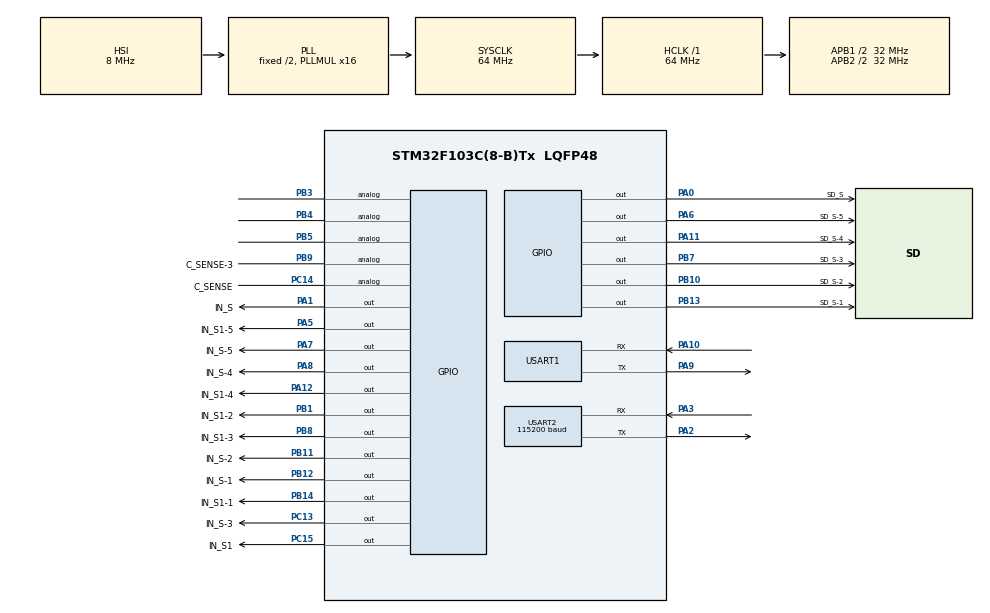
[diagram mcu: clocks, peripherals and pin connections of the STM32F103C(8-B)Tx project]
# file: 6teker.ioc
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Mcu.Family=STM32F1
Mcu.Name=STM32F103C(8-B)Tx
Mcu.Package=LQFP48
NVIC.PriorityGroup=NVIC_PRIORITYGROUP_4
NVIC.TIM1_CC_IRQn=true\:0\:0\:false\:false\:true
NVIC.TIM1_UP_IRQn=true\:0\:0\:false\:false\:true
NVIC.USART1_IRQn=true\:0\:0\:false\:false\:true
NVIC.USART2_IRQn=true\:0\:0\:false\:false\:true
PA0-WKUP.GPIO_Label=SD_S
PA0-WKUP.Signal=GPIO_Output
PA1.GPIO_Label=IN_S
PA1.Signal=GPIO_Output
PA10.Mode=Asynchronous
PA10.Signal=USART1_RX
PA11.GPIO_Label=SD_S-4
PA11.Signal=GPIO_Output
PA12.GPIO_Label=IN_S1-4
PA12.Signal=GPIO_Output
PA2.Mode=Asynchronous
PA2.Signal=USART2_TX
PA3.Mode=Asynchronous
PA3.Signal=USART2_RX
PA5.GPIO_Label=IN_S1-5
PA5.Signal=GPIO_Output
PA6.GPIO_Label=SD_S-5
PA6.Signal=GPIO_Output
PA7.GPIO_Label=IN_S-5
PA7.Signal=GPIO_Output
PA8.GPIO_Label=IN_S-4
PA8.Signal=GPIO_Output
PA9.Mode=Asynchronous
PA9.Signal=USART1_TX
PB1.GPIO_Label=IN_S1-2
PB1.Signal=GPIO_Output
PB10.GPIO_Label=SD_S-2
PB10.Signal=GPIO_Output
PB11.GPIO_Label=IN_S-2
PB11.Signal=GPIO_Output
PB12.GPIO_Label=IN_S-1
PB12.Signal=GPIO_Output
PB13.GPIO_Label=SD_S-1
PB13.Signal=GPIO_Output
PB14.GPIO_Label=IN_S1-1
PB14.Signal=GPIO_Output
PB3.Signal=GPIO_Analog
PB4.Signal=GPIO_Analog
PB5.Signal=GPIO_Analog
PB7.GPIO_Label=SD_S-3
PB7.Signal=GPIO_Output
PB8.GPIO_Label=IN_S1-3
PB8.Signal=GPIO_Output
PB9.GPIO_Label=C_SENSE-3
PB9.Signal=GPIO_Analog
PC13-TAMPER-RTC.GPIO_Label=IN_S-3
PC13-TAMPER-RTC.Signal=GPIO_Output
PC14-OSC32_IN.GPIO_Label=C_SENSE
PC14-OSC32_IN.Signal=GPIO_Analog
PC15-OSC32_OUT.GPIO_Label=IN_S1
PC15-OSC32_OUT.Signal=GPIO_Output
ProjectManager.HeapSize=0x200
ProjectManager.StackSize=0x400
ProjectManager.TargetToolchain=MDK-ARM V5
RCC.AHBFreq_Value=64000000
RCC.APB1CLKDivider=RCC_HCLK_DIV2
RCC.APB1Freq_Value=32000000
RCC.APB1TimFreq_Value=64000000
RCC.APB2CLKDivider=RCC_HCLK_DIV2
RCC.APB2Freq_Value=32000000
RCC.APB2TimFreq_Value=64000000
RCC.HCLKFreq_Value=64000000
RCC.PLLMUL=RCC_PLL_MUL16
RCC.SYSCLKFreq_VALUE=64000000
RCC.SYSCLKSource=RCC_SYSCLKSOURCE_PLLCLK
RCC.USBFreq_Value=64000000
TIM1.CounterMode=TIM_COUNTERMODE_UP
TIM1.Period=50
TIM1.Prescaler=255
USART2.BaudRate=115200
VP_SYS_VS_ND.Mode=No_Debug
VP_TIM1_VS_ClockSourceINT.Mode=Internal
board=6teker

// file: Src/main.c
/**
  ******************************************************************************
  * File Name          : main.c
  * Description        : Main program body
  ******************************************************************************
  *
  * COPYRIGHT(c) 2017 STMicroelectronics
  *
  * Redistribution and use in source and binary forms, with or without modification,
  * are permitted provided that the following conditions are met:
  *   1. Redistributions of source code must retain the above copyright notice,
  *      this list of conditions and the following disclaimer.
  *   2. Redistributions in binary form must reproduce the above copyright notice,
  *      this list of conditions and the following disclaimer in the documentation
  *      and/or other materials provided with the distribution.
  *   3. Neither the name of STMicroelectronics nor the names of its contributors
  *      may be used to endorse or promote products derived from this software
  *      without specific prior written permission.
  *
  * THIS SOFTWARE IS PROVIDED BY THE COPYRIGHT HOLDERS AND CONTRIBUTORS "AS IS"
  * AND ANY EXPRESS OR IMPLIED WARRANTIES, INCLUDING, BUT NOT LIMITED TO, THE
  * IMPLIED WARRANTIES OF MERCHANTABILITY AND FITNESS FOR A PARTICULAR PURPOSE ARE
  * DISCLAIMED. IN NO EVENT SHALL THE COPYRIGHT HOLDER OR CONTRIBUTORS BE LIABLE
  * FOR ANY DIRECT, INDIRECT, INCIDENTAL, SPECIAL, EXEMPLARY, OR CONSEQUENTIAL
  * DAMAGES (INCLUDING, BUT NOT LIMITED TO, PROCUREMENT OF SUBSTITUTE GOODS OR
  * SERVICES; LOSS OF USE, DATA, OR PROFITS; OR BUSINESS INTERRUPTION) HOWEVER
  * CAUSED AND ON ANY THEORY OF LIABILITY, WHETHER IN CONTRACT, STRICT LIABILITY,
  * OR TORT (INCLUDING NEGLIGENCE OR OTHERWISE) ARISING IN ANY WAY OUT OF THE USE
  * OF THIS SOFTWARE, EVEN IF ADVISED OF THE POSSIBILITY OF SUCH DAMAGE.
  *
  ******************************************************************************
  */
#include "stm32f1xx_hal.h"

TIM_HandleTypeDef htim1;

UART_HandleTypeDef huart1;
UART_HandleTypeDef huart2;

/* USER CODE BEGIN PV */
/* Private variables ---------------------------------------------------------*/
int i=0;
char buffer[100];
int len;
char Rx_indx;
unsigned char Rx_data[2], Rx_Buffer[100], Transfer_cplt, flag[6];

int count=0,axis_index;
unsigned char axis_enable[6]={0,0,0,0,0,0};
unsigned char axis_on[6]={0,0,0,0,0,0};
unsigned char axis_stop[6]={0,0,0,0,0,0};
unsigned char axis_direction[6]={0,0,0,0,0,0};
unsigned char axis_velocity[6]={0,0,0,0,0,0};
uint32_t axis_destination[6]={0,0,0,0,0,0};
uint32_t axis_location[6]={0,0,0,0,0,0};

/* USER CODE END PV */

void SystemClock_Config(void);
void Error_Handler(void);
static void MX_GPIO_Init(void);
static void MX_USART1_UART_Init(void);
static void MX_USART2_UART_Init(void);
static void MX_TIM1_Init(void);

/* USER CODE BEGIN PFP */
/* Private function prototypes -----------------------------------------------*/
 void HAL_UART_RxCpltCallback(UART_HandleTypeDef *huart)
{
	uint8_t i;
	if (1)	//uart kesmesi kime ait
		{
		if (Rx_indx==0) {for (i=0;i<100;i++) Rx_Buffer[i]=0;}	//Rx_Buffer temizle
		if(Rx_data[0]=='B')Rx_indx=0;
		if (Rx_data[0]!='E')	//if received data different from ascii 13 (enter)
			{
			Rx_Buffer[Rx_indx++]=Rx_data[0];	//add data to Rx_Buffer
			}
		else			//end bit arrived
			{
			Rx_indx=0;
			Transfer_cplt=1;//flag enable
				// x dir x val y dir y val
			for(int a=0;a<3;a++){
				axis_index=a; //Rx_Buffer[0]-'0';
				axis_enable[axis_index]=1;	// axis enabled
				axis_direction[axis_index]=(Rx_Buffer[1]-'0'); //axis direction is set
				axis_velocity[axis_index]=((Rx_Buffer[2]-'0')*5); //axis velocity is set
				if(Rx_Buffer[2]<Rx_Buffer[4]){
				if(Rx_Buffer[3]-'0'){axis_velocity[axis_index]=(Rx_Buffer[4]-'0')*5;axis_direction[axis_index]=0;}
				else {axis_velocity[axis_index]=(Rx_Buffer[4]-'0')*5;axis_direction[axis_index]=1;};
				}
					axis_destination[axis_index]= 1; //(Rx_Buffer[3]-'0')*10000; // axis destination is set
				axis_destination[axis_index]+=1; //(Rx_Buffer[4]-'0')*1000; // axis destination is set
			}
			for(int a=3;a<6;a++){
				axis_index=a; //Rx_Buffer[0]-'0';
				axis_enable[axis_index]=1;	// axis enabled
				axis_direction[axis_index]=(Rx_Buffer[1]-'0'); //axis direction is set
				axis_velocity[axis_index]=((Rx_Buffer[2]-'0')*5); //axis velocity is set
				if(Rx_Buffer[2]<Rx_Buffer[4]){
				if(Rx_Buffer[3]-'0'){axis_velocity[axis_index]=(Rx_Buffer[4]-'0')*5;axis_direction[axis_index]=1;}
				else{axis_velocity[axis_index]=(Rx_Buffer[4]-'0')*5;axis_direction[axis_index]=0;}
				}
				axis_destination[axis_index]= 1; //(Rx_Buffer[3]-'0')*10000; // axis destination is set
				axis_destination[axis_index]+=1; //(Rx_Buffer[4]-'0')*1000; // axis destination is set
			}
					for(i=0;i<6;i++){
					if(axis_velocity[i]>44)axis_velocity[i]=48;
					}
				}
		HAL_GPIO_TogglePin(GPIOC,GPIO_PIN_13);

		HAL_UART_Receive_IT(&huart1, Rx_data, 1);	//uart tekrar aktif
		}

}

    void HAL_TIM_PeriodElapsedCallback(TIM_HandleTypeDef *htim1)
    {
        if (TIM_GET_ITSTATUS(htim1, TIM_IT_UPDATE) != RESET)
        {

             }
    }

//void EXTI15_10_IRQHandler(void)
//{//motor number0
//		//HAL_GPIO_EXTI_IRQHandler(GPIO_PIN_15);
//
//  if(__HAL_GPIO_EXTI_GET_IT(GPIO_PIN_15) != RESET)
//  {
//    __HAL_GPIO_EXTI_CLEAR_IT(GPIO_PIN_15);
//		HAL_GPIO_TogglePin(GPIOC,GPIO_PIN_13);
//		axis_location[0]++;
//	}
//}
//void EXTI0_IRQHandler(void)
//	{
//  if(__HAL_GPIO_EXTI_GET_IT(GPIO_PIN_0) != RESET)
//  {
//    __HAL_GPIO_EXTI_CLEAR_IT(GPIO_PIN_0);
//		HAL_GPIO_TogglePin(GPIOC,GPIO_PIN_13);
//		axis_location[2]++;
//	}
//}
//void EXTI4_IRQHandler(void)
//	{
//  if(__HAL_GPIO_EXTI_GET_IT(GPIO_PIN_4) != RESET)
//  {
//    __HAL_GPIO_EXTI_CLEAR_IT(GPIO_PIN_4);
//		HAL_GPIO_TogglePin(GPIOC,GPIO_PIN_13);
//		axis_location[1]++;
//	}
//}

/* USER CODE END PFP */

int main(void)
{

  /* MCU Configuration----------------------------------------------------------*/

  /* Reset of all peripherals, Initializes the Flash interface and the Systick. */
  HAL_Init();

  /* Configure the system clock */
  SystemClock_Config();

  /* Initialize all configured peripherals */
  MX_GPIO_Init();
  MX_USART1_UART_Init();
  MX_USART2_UART_Init();
  MX_TIM1_Init();

  /* USER CODE BEGIN 2 */
 	HAL_TIM_Base_Start_IT(&htim1);	//timer1 aktif
	HAL_UART_Receive_IT(&huart1, Rx_data, 1);	//uart1 aktif

  /* USER CODE END 2 */

  /* Infinite loop */
  while (1)
  {

//  /* USER CODE BEGIN 3 */
//		if(Transfer_cplt){
//		sprintf(buffer,"%s\r\n",Rx_Buffer);
//		int len=strlen(buffer);
//		HAL_UART_Transmit(&huart1,(uint8_t *)buffer, len, 1000);
//			HAL_UART_Transmit(&huart1,"\r\n sol yon", 10, 1000);
//			char enco= axis_direction[0] + '0';
//		HAL_UART_Transmit(&huart1,(uint8_t *)&enco, 1, 1000);
//		HAL_UART_Transmit(&huart1,"\r\n sol hiz", 10, 1000);
//			char hedef= axis_velocity[0]/5 + '0';
//		HAL_UART_Transmit(&huart1,(uint8_t *)&hedef, 1, 1000);
//			HAL_UART_Transmit(&huart1,"\r\n sag yon", 10, 1000);
//			char enco1= axis_direction[3] + '0';
//		HAL_UART_Transmit(&huart1,(uint8_t *)&enco1, 1, 1000);
//		HAL_UART_Transmit(&huart1,"\r\n sag hiz", 10, 1000);
//			char hedef1= axis_velocity[3]/5 + '0';
//		HAL_UART_Transmit(&huart1,(uint8_t *)&hedef1, 1, 1000);
//				//axis_location[axis_index]=0;
//
//			Transfer_cplt=0;
//	}
					if(axis_enable[0]){
						HAL_GPIO_WritePin(GPIOB,GPIO_PIN_7,GPIO_PIN_SET);
//			HAL_UART_Transmit(&huart1,"\r\nA1-on", 7, 1000);
						axis_enable[0]=0;
						axis_on[0]=1;
					}
					if(axis_stop[0]){
//						HAL_GPIO_WritePin(GPIOB,GPIO_PIN_8,GPIO_PIN_RESET);
//						HAL_GPIO_WritePin(GPIOC,GPIO_PIN_13,GPIO_PIN_RESET);
						//HAL_Delay(100);			// delay for brake
//			HAL_UART_Transmit(&huart1,"\r\nA1-off", 8, 1000);
					HAL_GPIO_WritePin(GPIOB,GPIO_PIN_7,GPIO_PIN_RESET);
						axis_stop[0]=0;
						axis_on[0]=0;
					}
					///set a11 -a12 a8
					if(axis_enable[1]){
						HAL_GPIO_WritePin(GPIOA,GPIO_PIN_0,GPIO_PIN_SET);
//			HAL_UART_Transmit(&huart1,"\r\nA2-on", 7, 1000);
					axis_enable[1]=0;
					axis_on[1]=1;
					}
					if(axis_stop[1]){
//						HAL_GPIO_WritePin(GPIOC,GPIO_PIN_15,GPIO_PIN_RESET);
//						HAL_GPIO_WritePin(GPIOA,GPIO_PIN_1,GPIO_PIN_RESET);
						//HAL_Delay(100);			// delay for brake
//			HAL_UART_Transmit(&huart1,"\r\nA2-off", 8, 1000);
					HAL_GPIO_WritePin(GPIOA,GPIO_PIN_0,GPIO_PIN_RESET);
						axis_stop[1]=0;
						axis_on[1]=0;
					}

					if(axis_enable[2]){
						HAL_GPIO_WritePin(GPIOA,GPIO_PIN_6,GPIO_PIN_SET);
//			HAL_UART_Transmit(&huart1,"\r\nA3-on", 7, 1000);
					axis_enable[2]=0;
						axis_on[2]=1;
					}
					if(axis_stop[2]){
//						HAL_GPIO_WritePin(GPIOA,GPIO_PIN_5,GPIO_PIN_RESET);
//						HAL_GPIO_WritePin(GPIOA,GPIO_PIN_7,GPIO_PIN_RESET);
						//HAL_Delay(100);			// delay for brake
			HAL_UART_Transmit(&huart1,"\r\nA3-off", 8, 1000);
//					HAL_GPIO_WritePin(GPIOA,GPIO_PIN_6,GPIO_PIN_RESET);
						axis_stop[2]=0;
						axis_on[2]=0;
					}
					if(axis_enable[3]){
						HAL_GPIO_WritePin(GPIOB,GPIO_PIN_10,GPIO_PIN_SET);
//			HAL_UART_Transmit(&huart1,"\r\nA4-on", 7, 1000);
					axis_enable[3]=0;
						axis_on[3]=1;
					}
					if(axis_stop[3]){
//						HAL_GPIO_WritePin(GPIOB,GPIO_PIN_1,GPIO_PIN_RESET);
//						HAL_GPIO_WritePin(GPIOB,GPIO_PIN_11,GPIO_PIN_RESET);
						//HAL_Delay(100);			// delay for brake
//			HAL_UART_Transmit(&huart1,"\r\nA4-off", 8, 1000);
					HAL_GPIO_WritePin(GPIOB,GPIO_PIN_10,GPIO_PIN_RESET);
						axis_stop[3]=0;
						axis_on[3]=0;
					}
					if(axis_enable[4]){
						HAL_GPIO_WritePin(GPIOA,GPIO_PIN_11,GPIO_PIN_SET);
//			HAL_UART_Transmit(&huart1,"\r\nA5-on", 7, 1000);
					axis_enable[4]=0;
						axis_on[4]=1;
					}
					if(axis_stop[4]){
//						HAL_GPIO_WritePin(GPIOA,GPIO_PIN_12,GPIO_PIN_RESET);
//						HAL_GPIO_WritePin(GPIOA,GPIO_PIN_8,GPIO_PIN_RESET);
						//HAL_Delay(100);			// delay for brake
//			HAL_UART_Transmit(&huart1,"\r\nA5-off", 8, 1000);
					HAL_GPIO_WritePin(GPIOA,GPIO_PIN_11,GPIO_PIN_RESET);
						axis_stop[4]=0;
						axis_on[4]=0;
					}
					if(axis_enable[5]){
						HAL_GPIO_WritePin(GPIOB,GPIO_PIN_13,GPIO_PIN_SET);
//			HAL_UART_Transmit(&huart1,"\r\nA6-on", 7, 1000);
					axis_enable[5]=0;
						axis_on[5]=1;
					}
					if(axis_stop[5]){
//						HAL_GPIO_WritePin(GPIOB,GPIO_PIN_14,GPIO_PIN_RESET);
//						HAL_GPIO_WritePin(GPIOB,GPIO_PIN_12,GPIO_PIN_RESET);
						//HAL_Delay(100);			// delay for brake
//			HAL_UART_Transmit(&huart1,"\r\nA6-off", 8, 1000);
					HAL_GPIO_WritePin(GPIOB,GPIO_PIN_15,GPIO_PIN_RESET);
						axis_stop[5]=0;
						axis_on[5]=0;
					}
	//3-c13 b8  b7 b9
	//- a1  c15 a0 c14
	//5 a7  a5  a6
	//2-b11 b12 b10
	//4-a8  a12 a11
	//1-b12 b14 b13
			count=__HAL_TIM_GetCounter(&htim1);
if(axis_on[0])
	{
	if(axis_direction[0])
		{
		HAL_GPIO_WritePin(GPIOC,GPIO_PIN_13,GPIO_PIN_RESET);
		if(count<axis_velocity[0])
			HAL_GPIO_WritePin(GPIOB,GPIO_PIN_8,GPIO_PIN_SET);
		else
			HAL_GPIO_WritePin(GPIOB,GPIO_PIN_8,GPIO_PIN_RESET);
		}
	else
		{
		HAL_GPIO_WritePin(GPIOB,GPIO_PIN_8,GPIO_PIN_RESET);
		if(count<axis_velocity[0])
			HAL_GPIO_WritePin(GPIOC,GPIO_PIN_13,GPIO_PIN_SET);
		else
			HAL_GPIO_WritePin(GPIOC,GPIO_PIN_13,GPIO_PIN_RESET);
		}
	}
if(axis_on[1])
	{
	if(axis_direction[1])
		{
		HAL_GPIO_WritePin(GPIOA,GPIO_PIN_1,GPIO_PIN_RESET);
		if(count<axis_velocity[1])
			HAL_GPIO_WritePin(GPIOC,GPIO_PIN_15,GPIO_PIN_SET);
		else
			HAL_GPIO_WritePin(GPIOC,GPIO_PIN_15,GPIO_PIN_RESET);
		}
	else
		{
		HAL_GPIO_WritePin(GPIOC,GPIO_PIN_15,GPIO_PIN_RESET);
		if(count<axis_velocity[1])
			HAL_GPIO_WritePin(GPIOA,GPIO_PIN_1,GPIO_PIN_SET);
		else
		HAL_GPIO_WritePin(GPIOA,GPIO_PIN_1,GPIO_PIN_RESET);
		}
	}
if(axis_on[2])
	{
	if(axis_direction[2])
		{
		HAL_GPIO_WritePin(GPIOA,GPIO_PIN_7,GPIO_PIN_RESET);
		if(count<axis_velocity[2])
			HAL_GPIO_WritePin(GPIOA,GPIO_PIN_5,GPIO_PIN_SET);
		else
			HAL_GPIO_WritePin(GPIOA,GPIO_PIN_5,GPIO_PIN_RESET);
		}
	else
		{
		HAL_GPIO_WritePin(GPIOA,GPIO_PIN_5,GPIO_PIN_RESET);
		if(count<axis_velocity[2])
			HAL_GPIO_WritePin(GPIOA,GPIO_PIN_7,GPIO_PIN_SET);
		else
		HAL_GPIO_WritePin(GPIOA,GPIO_PIN_7,GPIO_PIN_RESET);
		}
	}
if(axis_on[3])
	{
	if(axis_direction[3])
		{
		HAL_GPIO_WritePin(GPIOB,GPIO_PIN_1,GPIO_PIN_RESET);
		if(count<axis_velocity[3])
			HAL_GPIO_WritePin(GPIOB,GPIO_PIN_11,GPIO_PIN_SET);
		else
			HAL_GPIO_WritePin(GPIOB,GPIO_PIN_11,GPIO_PIN_RESET);
		}
	else
		{
		HAL_GPIO_WritePin(GPIOB,GPIO_PIN_11,GPIO_PIN_RESET);
		if(count<axis_velocity[3])
			HAL_GPIO_WritePin(GPIOB,GPIO_PIN_1,GPIO_PIN_SET);
		else
		HAL_GPIO_WritePin(GPIOB,GPIO_PIN_1,GPIO_PIN_RESET);
		}
	}
if(axis_on[4])
	{
	if(axis_direction[4])
		{
		HAL_GPIO_WritePin(GPIOA,GPIO_PIN_12,GPIO_PIN_RESET);
		if(count<axis_velocity[4])
			HAL_GPIO_WritePin(GPIOA,GPIO_PIN_8,GPIO_PIN_SET);
		else
			HAL_GPIO_WritePin(GPIOA,GPIO_PIN_8,GPIO_PIN_RESET);
		}
	else
		{
		HAL_GPIO_WritePin(GPIOA,GPIO_PIN_8,GPIO_PIN_RESET);
		if(count<axis_velocity[4])
			HAL_GPIO_WritePin(GPIOA,GPIO_PIN_12,GPIO_PIN_SET);
		else
		HAL_GPIO_WritePin(GPIOA,GPIO_PIN_12,GPIO_PIN_RESET);
		}
	}
if(axis_on[5])
	{
	if(axis_direction[5])
		{
		HAL_GPIO_WritePin(GPIOB,GPIO_PIN_14,GPIO_PIN_RESET);
		if(count<axis_velocity[5])
			HAL_GPIO_WritePin(GPIOB,GPIO_PIN_12,GPIO_PIN_SET);
		else
			HAL_GPIO_WritePin(GPIOB,GPIO_PIN_12,GPIO_PIN_RESET);
		}
	else
		{
		HAL_GPIO_WritePin(GPIOB,GPIO_PIN_12,GPIO_PIN_RESET);
		if(count<axis_velocity[5])
			HAL_GPIO_WritePin(GPIOB,GPIO_PIN_14,GPIO_PIN_SET);
		else
		HAL_GPIO_WritePin(GPIOB,GPIO_PIN_14,GPIO_PIN_RESET);
		}
	}
		for(i=0;i<6;i++)
	{
		if((axis_destination[i]<axis_location[i] | axis_velocity[i]==0) & axis_on[i]){axis_enable[i]=0;axis_location[i]=0;axis_stop[i]=1;}
	}
	}
  /* USER CODE END 3 */

}

/** System Clock Configuration
*/
void SystemClock_Config(void)
{

  RCC_OscInitTypeDef RCC_OscInitStruct;
  RCC_ClkInitTypeDef RCC_ClkInitStruct;

  RCC_OscInitStruct.OscillatorType = RCC_OSCILLATORTYPE_HSI;
  RCC_OscInitStruct.HSIState = RCC_HSI_ON;
  RCC_OscInitStruct.HSICalibrationValue = 16;
  RCC_OscInitStruct.PLL.PLLState = RCC_PLL_ON;
  RCC_OscInitStruct.PLL.PLLSource = RCC_PLLSOURCE_HSI_DIV2;
  RCC_OscInitStruct.PLL.PLLMUL = RCC_PLL_MUL16;
  if (HAL_RCC_OscConfig(&RCC_OscInitStruct) != HAL_OK)
  {
    Error_Handler();
  }

  RCC_ClkInitStruct.ClockType = RCC_CLOCKTYPE_HCLK|RCC_CLOCKTYPE_SYSCLK
                              |RCC_CLOCKTYPE_PCLK1|RCC_CLOCKTYPE_PCLK2;
  RCC_ClkInitStruct.SYSCLKSource = RCC_SYSCLKSOURCE_PLLCLK;
  RCC_ClkInitStruct.AHBCLKDivider = RCC_SYSCLK_DIV1;
  RCC_ClkInitStruct.APB1CLKDivider = RCC_HCLK_DIV2;
  RCC_ClkInitStruct.APB2CLKDivider = RCC_HCLK_DIV2;
  if (HAL_RCC_ClockConfig(&RCC_ClkInitStruct, FLASH_LATENCY_2) != HAL_OK)
  {
    Error_Handler();
  }

  HAL_SYSTICK_Config(HAL_RCC_GetHCLKFreq()/1000);

  HAL_SYSTICK_CLKSourceConfig(SYSTICK_CLKSOURCE_HCLK);

  /* SysTick_IRQn interrupt configuration */
  HAL_NVIC_SetPriority(SysTick_IRQn, 0, 0);
}

/* TIM1 init function */
static void MX_TIM1_Init(void)
{

  TIM_ClockConfigTypeDef sClockSourceConfig;
  TIM_MasterConfigTypeDef sMasterConfig;

  htim1.Instance = TIM1;
  htim1.Init.Prescaler = 255;
  htim1.Init.CounterMode = TIM_COUNTERMODE_UP;
  htim1.Init.Period = 50;
  htim1.Init.ClockDivision = TIM_CLOCKDIVISION_DIV1;
  htim1.Init.RepetitionCounter = 0;
  if (HAL_TIM_Base_Init(&htim1) != HAL_OK)
  {
    Error_Handler();
  }

  sClockSourceConfig.ClockSource = TIM_CLOCKSOURCE_INTERNAL;
  if (HAL_TIM_ConfigClockSource(&htim1, &sClockSourceConfig) != HAL_OK)
  {
    Error_Handler();
  }

  sMasterConfig.MasterOutputTrigger = TIM_TRGO_RESET;
  sMasterConfig.MasterSlaveMode = TIM_MASTERSLAVEMODE_DISABLE;
  if (HAL_TIMEx_MasterConfigSynchronization(&htim1, &sMasterConfig) != HAL_OK)
  {
    Error_Handler();
  }

}

/* USART1 init function */
static void MX_USART1_UART_Init(void)
{

  huart1.Instance = USART1;
  huart1.Init.BaudRate = 115200;
  huart1.Init.WordLength = UART_WORDLENGTH_8B;
  huart1.Init.StopBits = UART_STOPBITS_1;
  huart1.Init.Parity = UART_PARITY_NONE;
  huart1.Init.Mode = UART_MODE_TX_RX;
  huart1.Init.HwFlowCtl = UART_HWCONTROL_NONE;
  huart1.Init.OverSampling = UART_OVERSAMPLING_16;
  if (HAL_UART_Init(&huart1) != HAL_OK)
  {
    Error_Handler();
  }

}

/* USART2 init function */
static void MX_USART2_UART_Init(void)
{

  huart2.Instance = USART2;
  huart2.Init.BaudRate = 115200;
  huart2.Init.WordLength = UART_WORDLENGTH_8B;
  huart2.Init.StopBits = UART_STOPBITS_1;
  huart2.Init.Parity = UART_PARITY_NONE;
  huart2.Init.Mode = UART_MODE_TX_RX;
  huart2.Init.HwFlowCtl = UART_HWCONTROL_NONE;
  huart2.Init.OverSampling = UART_OVERSAMPLING_16;
  if (HAL_UART_Init(&huart2) != HAL_OK)
  {
    Error_Handler();
  }

}

/** Configure pins as
        * Analog
        * Input
        * Output
        * EVENT_OUT
        * EXTI
*/
static void MX_GPIO_Init(void)
{

  GPIO_InitTypeDef GPIO_InitStruct;

  /* GPIO Ports Clock Enable */
  __HAL_RCC_GPIOC_CLK_ENABLE();
  __HAL_RCC_GPIOA_CLK_ENABLE();
  __HAL_RCC_GPIOB_CLK_ENABLE();

  /*Configure GPIO pin Output Level */
  HAL_GPIO_WritePin(GPIOC, IN_S_3_Pin|IN_S1_Pin, GPIO_PIN_RESET);

  /*Configure GPIO pin Output Level */
  HAL_GPIO_WritePin(GPIOA, SD_S_Pin|IN_S_Pin|IN_S1_5_Pin|SD_S_5_Pin
                          |IN_S_5_Pin|IN_S_4_Pin|SD_S_4_Pin|IN_S1_4_Pin, GPIO_PIN_RESET);

  /*Configure GPIO pin Output Level */
  HAL_GPIO_WritePin(GPIOB, IN_S1_2_Pin|SD_S_2_Pin|IN_S_2_Pin|IN_S_1_Pin
                          |SD_S_1_Pin|IN_S1_1_Pin|SD_S_3_Pin|IN_S1_3_Pin, GPIO_PIN_RESET);

  /*Configure GPIO pins : IN_S_3_Pin IN_S1_Pin */
  GPIO_InitStruct.Pin = IN_S_3_Pin|IN_S1_Pin;
  GPIO_InitStruct.Mode = GPIO_MODE_OUTPUT_PP;
  GPIO_InitStruct.Speed = GPIO_SPEED_FREQ_LOW;
  HAL_GPIO_Init(GPIOC, &GPIO_InitStruct);

  /*Configure GPIO pin : C_SENSE_Pin */
  GPIO_InitStruct.Pin = C_SENSE_Pin;
  GPIO_InitStruct.Mode = GPIO_MODE_ANALOG;
  HAL_GPIO_Init(C_SENSE_GPIO_Port, &GPIO_InitStruct);

  /*Configure GPIO pins : SD_S_Pin IN_S_Pin IN_S1_5_Pin SD_S_5_Pin
                           IN_S_5_Pin IN_S_4_Pin SD_S_4_Pin IN_S1_4_Pin */
  GPIO_InitStruct.Pin = SD_S_Pin|IN_S_Pin|IN_S1_5_Pin|SD_S_5_Pin
                          |IN_S_5_Pin|IN_S_4_Pin|SD_S_4_Pin|IN_S1_4_Pin;
  GPIO_InitStruct.Mode = GPIO_MODE_OUTPUT_PP;
  GPIO_InitStruct.Speed = GPIO_SPEED_FREQ_LOW;
  HAL_GPIO_Init(GPIOA, &GPIO_InitStruct);

  /*Configure GPIO pins : IN_S1_2_Pin SD_S_2_Pin IN_S_2_Pin IN_S_1_Pin
                           SD_S_1_Pin IN_S1_1_Pin SD_S_3_Pin IN_S1_3_Pin */
  GPIO_InitStruct.Pin = IN_S1_2_Pin|SD_S_2_Pin|IN_S_2_Pin|IN_S_1_Pin
                          |SD_S_1_Pin|IN_S1_1_Pin|SD_S_3_Pin|IN_S1_3_Pin;
  GPIO_InitStruct.Mode = GPIO_MODE_OUTPUT_PP;
  GPIO_InitStruct.Speed = GPIO_SPEED_FREQ_LOW;
  HAL_GPIO_Init(GPIOB, &GPIO_InitStruct);

  /*Configure GPIO pins : PB3 PB4 PB5 C_SENSE_3_Pin */
  GPIO_InitStruct.Pin = GPIO_PIN_3|GPIO_PIN_4|GPIO_PIN_5|C_SENSE_3_Pin;
  GPIO_InitStruct.Mode = GPIO_MODE_ANALOG;
  HAL_GPIO_Init(GPIOB, &GPIO_InitStruct);

}

void Error_Handler(void)
{
  while(1)
  {
  }
}

/************************ (C) COPYRIGHT STMicroelectronics *****END OF FILE****/
